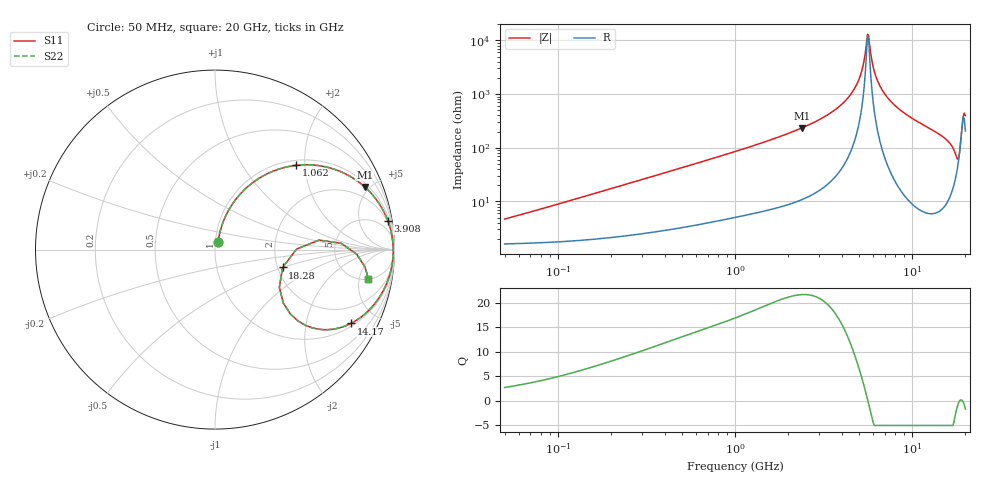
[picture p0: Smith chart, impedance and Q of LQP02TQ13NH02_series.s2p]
!Murata Part Number: LQP02TQ13NH02
!These Parameters are Measured in Series Mode Connection
!  o--[Z]--o
!Port1  Port2
!  o-------o
!Freq. Start=50[MHz] Stop=20[GHz], 401[Steps]
# Hz S RI R 50
!Freq.(Hz) S11(Real) S11(Imag) S21(Real) S21(Imag) S12(Real) S12(Imag) S22(Real) S22(Imag)
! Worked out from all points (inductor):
!   401 points, 50 MHz to 20 GHz, reference 50 ohm
!   read as one part in series: L = 14 nH near 55.53 MHz
!   highest Q = 21.6 at 2.384 GHz (marker M1), where L = 15.6 nH
!   self-resonance near 5.599 GHz
!   S11 on the Smith chart (normalised r, x): 50 MHz: 1.03, +0.09; 1.062 GHz: 1.10, +1.80; 3.908 GHz: 2, +12; 14.17 GHz: 1.13, -3.61; 18.28 GHz: 2.13, -0.50; 20 GHz: 5.11, -6.82
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5e7  0.0177 0.0426  0.9823 -0.0426  0.9823 -0.0426  0.0177 0.0426
1.364002e8  0.0316 0.1126  0.9684 -0.1126  0.9684 -0.1126  0.0316 0.1126
3.721004e8  0.111 0.2734  0.889 -0.2734  0.889 -0.2734  0.111 0.2734
1e9  0.4236 0.4654  0.5764 -0.4654  0.5764 -0.4654  0.4236 0.4654
1.061746e9  0.4525 0.4696  0.5475 -0.4696  0.5475 -0.4696  0.4525 0.4696
2.383959e9  0.8341 0.3496  0.1659 -0.3496  0.1659 -0.3496  0.8341 0.3496
2.728004e9  0.8801 0.3024  0.1199 -0.3024  0.1199 -0.3024  0.8801 0.3024
3.908127e9  0.9638 0.1587  0.0362 -0.1587  0.0362 -0.1587  0.9638 0.1587
4.89267e9  0.9881 0.062  0.0119 -0.062  0.0119 -0.062  0.9881 0.062
5.194772e9  0.9911 0.0358  0.00888 -0.0358  0.00888 -0.0358  0.9911 0.0358
5.598765e9  0.9928 0.00281  0.00717 -0.00281  0.00717 -0.00281  0.9928 0.00281
5.769027e9  0.9929 -0.0104  0.00713 0.0104  0.00713 0.0104  0.9929 -0.0104
6.034176e9  0.9922 -0.0304  0.00776 0.0304  0.00776 0.0304  0.9922 -0.0304
6.311513e9  0.9908 -0.0504  0.00923 0.0504  0.00923 0.0504  0.9908 -0.0504
7.442007e9  0.9779 -0.1243  0.0221 0.1243  0.0221 0.1243  0.9779 -0.1243
9.457416e9  0.9353 -0.2328  0.0647 0.2328  0.0647 0.2328  0.9353 -0.2328
1.417136e10  0.7574 -0.4111  0.2426 0.4111  0.2426 0.4111  0.7574 -0.4111
1.696185e10  0.5045 -0.422  0.4955 0.422  0.4955 0.422  0.5045 -0.422
1.774144e10  0.381 -0.2989  0.619 0.2989  0.619 0.2989  0.381 -0.2989
1.828096e10  0.3766 -0.0997  0.6234 0.0997  0.6234 0.0997  0.3766 -0.0997
1.912117e10  0.704 0.0347  0.296 -0.0347  0.296 -0.0347  0.704 0.0347
2e10  0.8543 -0.1628  0.1457 0.1628  0.1457 0.1628  0.8543 -0.1628
